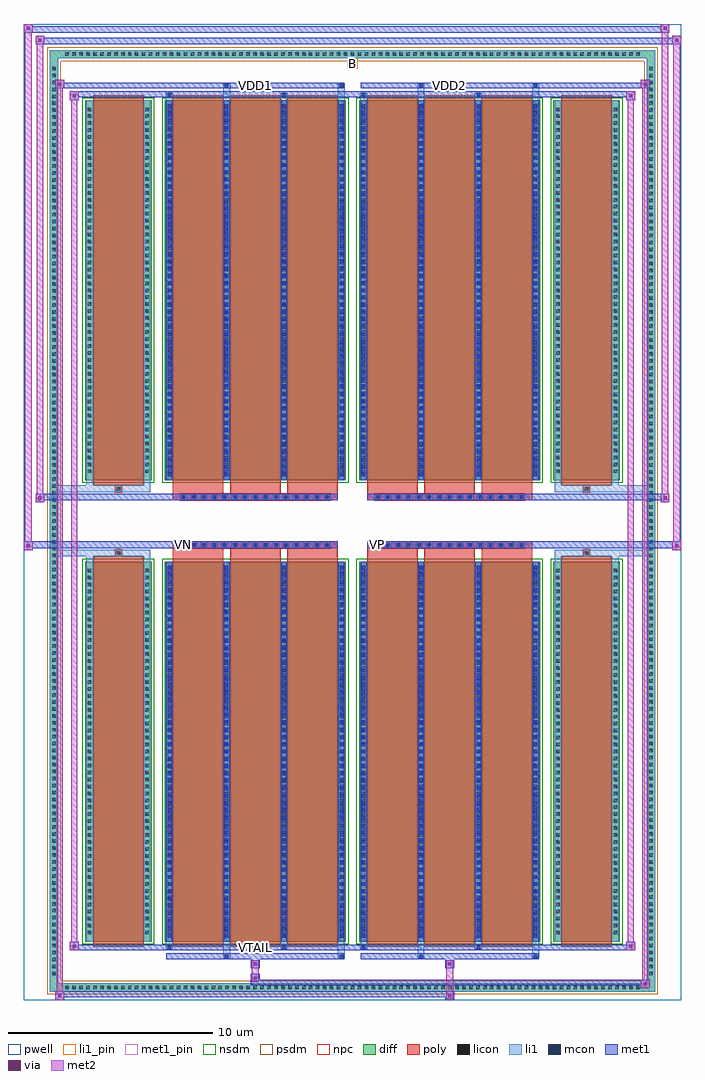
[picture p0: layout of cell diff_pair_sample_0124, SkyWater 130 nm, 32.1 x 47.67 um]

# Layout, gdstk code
import gdstk
lib = gdstk.Library(unit=1e-6, precision=5e-09)
def R(c, l, rs):  # rectangles x0, y0, x1, y1
    for r in rs: c.add(gdstk.rectangle(r[:2], r[2:], *l))
def A(c, l, x, y, w, h, nx, ny, dx, dy):  # array of equal rectangles
    R(c, l, [(x+i*dx, y+j*dy, x+i*dx+w, y+j*dy+h) for i in range(nx) for j in range(ny)])
def P(c, l, *ps):  # polygons
    for p in ps: c.add(gdstk.Polygon(p, *l))
pwell = (64, 44)
diff = (65, 20)
poly = (66, 20)
licon = (66, 44)
li1_pin = (67, 16)
li1 = (67, 20)
mcon = (67, 44)
met1_pin = (68, 16)
met1 = (68, 20)
via = (68, 44)
met2 = (69, 20)
nsdm = (93, 44)
psdm = (94, 20)
npc = (95, 20)

diff_pair_sample_0124 = lib.new_cell('diff_pair_sample_0124')
R(diff_pair_sample_0124, pwell, [(-16.05,-23.4,16.05,24.27), (-13.37,-21.59,-0.01,-0.805), (0.01,-21.59,13.37,-0.805), (-13.37,0.805,-0.01,21.59), (0.01,0.805,13.37,21.59)])
A(diff_pair_sample_0124, diff, -14.145, -23, 0.41, 0.41, 83, 2, 0.34, 45.59)
A(diff_pair_sample_0124, diff, -14.78, -22.305, 0.41, 0.41, 1, 131, 0, 0.34)
A(diff_pair_sample_0124, diff, 14.37, -22.305, 0.41, 0.41, 1, 131, 0, 0.34)
R(diff_pair_sample_0124, diff, [(-14.145,-23,14.145,-22.59), (-14.78,-22.305,-14.37,22.305), (14.37,-22.305,14.78,22.305), (-13.06,-20.545,-9.81,-1.985), (-9.17,-20.545,-0.32,-1.985), (0.32,-20.545,9.17,-1.985), (9.81,-20.545,13.06,-1.985), (-13.06,1.985,-9.81,20.545), (-9.17,1.985,-0.32,20.545), (0.32,1.985,9.17,20.545), (9.81,1.985,13.06,20.545), (-14.145,22.59,14.145,23)])
P(diff_pair_sample_0124, diff, [(14.78,23),(-14.78,23),(-14.78,-22.59),(-14.37,-22.59),(-14.37,22.59),(14.37,22.59),(14.37,-22.59),(-14.37,-22.59),(-14.78,-22.59),(-14.78,-23),(14.78,-23)])
A(diff_pair_sample_0124, poly, -8.78, -20.795, 2.47, 19.06, 3, 2, 2.8, 22.53)
A(diff_pair_sample_0124, poly, 0.71, -20.795, 2.47, 19.06, 3, 2, 2.8, 22.53)
A(diff_pair_sample_0124, poly, -8.78, -1.735, 2.47, 0.4, 3, 2, 2.8, 3.07)
A(diff_pair_sample_0124, poly, 0.71, -1.735, 2.47, 0.4, 3, 2, 2.8, 3.07)
A(diff_pair_sample_0124, poly, -8.41, -1.335, 0.33, 0.33, 15, 2, 0.5, 2.34)
A(diff_pair_sample_0124, poly, 1.08, -1.335, 0.33, 0.33, 15, 2, 0.5, 2.34)
R(diff_pair_sample_0124, poly, [(-12.67,-20.795,-10.2,-1.735), (10.2,-20.795,12.67,-1.735), (-11.6,-1.735,-11.27,-1.405), (-11.6,-1.735,-11.27,-1.405), (11.27,-1.735,11.6,-1.405), (11.27,-1.735,11.6,-1.405), (-8.78,-1.335,-0.71,-1.005), (0.71,-1.335,8.78,-1.005), (-8.78,1.005,-0.71,1.335), (0.71,1.005,8.78,1.335), (-11.6,1.405,-11.27,1.735), (-11.6,1.405,-11.27,1.735), (11.27,1.405,11.6,1.735), (11.27,1.405,11.6,1.735), (-12.67,1.735,-10.2,20.795), (10.2,1.735,12.67,20.795)])
A(diff_pair_sample_0124, licon, -14.025, -22.88, 0.17, 0.17, 83, 2, 0.34, 45.59)
A(diff_pair_sample_0124, licon, -14.66, -22.185, 0.17, 0.17, 1, 131, 0, 0.34)
A(diff_pair_sample_0124, licon, 14.49, -22.185, 0.17, 0.17, 1, 131, 0, 0.34)
A(diff_pair_sample_0124, licon, -12.92, -20.19, 0.17, 0.17, 1, 53, 0, 0.34)
A(diff_pair_sample_0124, licon, -10.12, -20.19, 0.17, 0.17, 1, 53, 0, 0.34)
A(diff_pair_sample_0124, licon, -9.03, -20.19, 0.17, 0.17, 4, 53, 2.8, 0.34)
A(diff_pair_sample_0124, licon, 0.46, -20.19, 0.17, 0.17, 4, 53, 2.8, 0.34)
A(diff_pair_sample_0124, licon, 9.95, -20.19, 0.17, 0.17, 1, 53, 0, 0.34)
A(diff_pair_sample_0124, licon, 12.75, -20.19, 0.17, 0.17, 1, 53, 0, 0.34)
A(diff_pair_sample_0124, licon, -8.33, -1.255, 0.17, 0.17, 15, 2, 0.5, 2.34)
A(diff_pair_sample_0124, licon, 1.16, -1.255, 0.17, 0.17, 15, 2, 0.5, 2.34)
A(diff_pair_sample_0124, licon, -12.92, 2.34, 0.17, 0.17, 1, 53, 0, 0.34)
A(diff_pair_sample_0124, licon, -10.12, 2.34, 0.17, 0.17, 1, 53, 0, 0.34)
A(diff_pair_sample_0124, licon, -9.03, 2.34, 0.17, 0.17, 4, 53, 2.8, 0.34)
A(diff_pair_sample_0124, licon, 0.46, 2.34, 0.17, 0.17, 4, 53, 2.8, 0.34)
A(diff_pair_sample_0124, licon, 9.95, 2.34, 0.17, 0.17, 1, 53, 0, 0.34)
A(diff_pair_sample_0124, licon, 12.75, 2.34, 0.17, 0.17, 1, 53, 0, 0.34)
R(diff_pair_sample_0124, licon, [(-11.52,-1.655,-11.35,-1.485), (11.35,-1.655,11.52,-1.485), (-11.52,1.485,-11.35,1.655), (11.35,1.485,11.52,1.655)])
R(diff_pair_sample_0124, li1_pin, [(-0.25,22.09,0.25,22.59)])
A(diff_pair_sample_0124, li1, -14.105, -22.96, 0.33, 0.33, 83, 2, 0.34, 45.59)
A(diff_pair_sample_0124, li1, -14.74, -22.265, 0.33, 0.33, 1, 131, 0, 0.34)
A(diff_pair_sample_0124, li1, 14.41, -22.265, 0.33, 0.33, 1, 131, 0, 0.34)
A(diff_pair_sample_0124, li1, -9.11, -20.545, 0.33, 18.56, 4, 2, 2.8, 22.53)
A(diff_pair_sample_0124, li1, 0.38, -20.545, 0.33, 18.56, 4, 2, 2.8, 22.53)
A(diff_pair_sample_0124, li1, -9.03, -20.35, 0.17, 0.17, 4, 51, 2.8, 0.36)
A(diff_pair_sample_0124, li1, -9.03, -20.35, 0.17, 18.17, 4, 2, 2.8, 22.53)
A(diff_pair_sample_0124, li1, 0.46, -20.35, 0.17, 0.17, 4, 51, 2.8, 0.36)
A(diff_pair_sample_0124, li1, 0.46, -20.35, 0.17, 18.17, 4, 2, 2.8, 22.53)
A(diff_pair_sample_0124, li1, -13, -20.27, 0.33, 0.33, 1, 53, 0, 0.34)
A(diff_pair_sample_0124, li1, -10.2, -20.27, 0.33, 0.33, 1, 53, 0, 0.34)
A(diff_pair_sample_0124, li1, -9.11, -20.27, 0.33, 0.33, 4, 53, 2.8, 0.34)
A(diff_pair_sample_0124, li1, 0.38, -20.27, 0.33, 0.33, 4, 53, 2.8, 0.34)
A(diff_pair_sample_0124, li1, 9.87, -20.27, 0.33, 0.33, 1, 53, 0, 0.34)
A(diff_pair_sample_0124, li1, 12.67, -20.27, 0.33, 0.33, 1, 53, 0, 0.34)
A(diff_pair_sample_0124, li1, -8.41, -1.335, 0.33, 0.33, 15, 2, 0.5, 2.34)
A(diff_pair_sample_0124, li1, 1.08, -1.335, 0.33, 0.33, 15, 2, 0.5, 2.34)
A(diff_pair_sample_0124, li1, -9.03, 2.18, 0.17, 0.17, 4, 51, 2.8, 0.36)
A(diff_pair_sample_0124, li1, 0.46, 2.18, 0.17, 0.17, 4, 51, 2.8, 0.36)
A(diff_pair_sample_0124, li1, -13, 2.26, 0.33, 0.33, 1, 53, 0, 0.34)
A(diff_pair_sample_0124, li1, -10.2, 2.26, 0.33, 0.33, 1, 53, 0, 0.34)
A(diff_pair_sample_0124, li1, -9.11, 2.26, 0.33, 0.33, 4, 53, 2.8, 0.34)
A(diff_pair_sample_0124, li1, 0.38, 2.26, 0.33, 0.33, 4, 53, 2.8, 0.34)
A(diff_pair_sample_0124, li1, 9.87, 2.26, 0.33, 0.33, 1, 53, 0, 0.34)
A(diff_pair_sample_0124, li1, 12.67, 2.26, 0.33, 0.33, 1, 53, 0, 0.34)
R(diff_pair_sample_0124, li1, [(-14.78,-23,-14.37,-22.59), (-14.78,-23,-14.37,-22.59), (-14.37,-23,14.37,-22.59), (14.37,-23,14.78,-22.59), (14.37,-23,14.78,-22.59), (-14.78,-22.59,-14.37,22.59), (14.37,-22.59,14.78,22.59), (-6.31,-21.35,-5.98,-20.545), (-6.23,-21.35,-6.06,-21.18), (-0.71,-21.35,-0.38,-20.545), (-0.63,-21.35,-0.46,-21.18), (3.18,-21.35,3.51,-20.545), (3.26,-21.35,3.43,-21.18), (8.78,-21.35,9.11,-20.545), (8.86,-21.35,9.03,-21.18), (-9.11,-20.92,-8.78,-20.545), (-9.03,-20.92,-8.86,-20.75), (-3.51,-20.92,-3.18,-20.545), (-3.43,-20.92,-3.26,-20.75), (0.38,-20.92,0.71,-20.545), (0.46,-20.92,0.63,-20.75), (5.98,-20.92,6.31,-20.545), (6.06,-20.92,6.23,-20.75), (-13,-20.545,-12.67,-1.985), (-10.2,-20.545,-9.87,-1.985), (9.87,-20.545,10.2,-1.985), (12.67,-20.545,13,-1.985), (-13,-1.985,-12.67,-1.405), (-10.2,-1.985,-9.87,-1.405), (9.87,-1.985,10.2,-1.405), (12.67,-1.985,13,-1.405), (-14.78,-1.735,-11.6,-1.405), (-13,-1.735,-11.6,-1.405), (-11.6,-1.735,-11.27,-1.405), (-11.27,-1.735,-9.87,-1.405), (9.87,-1.735,11.27,-1.405), (11.27,-1.735,11.6,-1.405), (11.27,-1.735,14.78,-1.405), (11.6,-1.735,13,-1.405), (-14.78,1.405,-11.6,1.735), (-13,1.405,-11.6,1.735), (-13,1.405,-12.67,1.985), (-11.6,1.405,-11.27,1.735), (-11.27,1.405,-9.87,1.735), (-10.2,1.405,-9.87,1.985), (9.87,1.405,11.27,1.735), (9.87,1.405,10.2,1.985), (11.27,1.405,11.6,1.735), (11.27,1.405,14.78,1.735), (11.6,1.405,13,1.735), (12.67,1.405,13,1.985), (-13,1.985,-12.67,20.545), (-10.2,1.985,-9.87,20.545), (9.87,1.985,10.2,20.545), (12.67,1.985,13,20.545), (-9.11,20.545,-8.78,20.92), (-6.31,20.545,-5.98,21.35), (-3.51,20.545,-3.18,20.92), (-0.71,20.545,-0.38,21.35), (0.38,20.545,0.71,20.92), (3.18,20.545,3.51,21.35), (5.98,20.545,6.31,20.92), (8.78,20.545,9.11,21.35), (-9.03,20.75,-8.86,20.92), (-3.43,20.75,-3.26,20.92), (0.46,20.75,0.63,20.92), (6.06,20.75,6.23,20.92), (-6.23,21.18,-6.06,21.35), (-0.63,21.18,-0.46,21.35), (3.26,21.18,3.43,21.35), (8.86,21.18,9.03,21.35), (-14.78,22.59,-14.37,23), (-14.78,22.59,-14.37,23), (-14.37,22.59,14.37,23), (14.37,22.59,14.78,23), (14.37,22.59,14.78,23)])
A(diff_pair_sample_0124, mcon, -9.03, -20.35, 0.17, 0.17, 4, 51, 2.8, 0.36)
A(diff_pair_sample_0124, mcon, 0.46, -20.35, 0.17, 0.17, 4, 51, 2.8, 0.36)
A(diff_pair_sample_0124, mcon, -8.33, -1.255, 0.17, 0.17, 15, 2, 0.5, 2.34)
A(diff_pair_sample_0124, mcon, 1.16, -1.255, 0.17, 0.17, 15, 2, 0.5, 2.34)
A(diff_pair_sample_0124, mcon, -9.03, 2.18, 0.17, 0.17, 4, 51, 2.8, 0.36)
A(diff_pair_sample_0124, mcon, 0.46, 2.18, 0.17, 0.17, 4, 51, 2.8, 0.36)
R(diff_pair_sample_0124, mcon, [(-6.23,-21.35,-6.06,-21.18), (-0.63,-21.35,-0.46,-21.18), (3.26,-21.35,3.43,-21.18), (8.86,-21.35,9.03,-21.18), (-9.03,-20.92,-8.86,-20.75), (-3.43,-20.92,-3.26,-20.75), (0.46,-20.92,0.63,-20.75), (6.06,-20.92,6.23,-20.75), (-9.03,20.75,-8.86,20.92), (-3.43,20.75,-3.26,20.92), (0.46,20.75,0.63,20.92), (6.06,20.75,6.23,20.92), (-6.23,21.18,-6.06,21.35), (-0.63,21.18,-0.46,21.35), (3.26,21.18,3.43,21.35), (8.86,21.18,9.03,21.35)])
R(diff_pair_sample_0124, met1_pin, [(-4.88,-20.96,-4.61,-20.69), (-8.38,-1.295,-8.11,-1.025), (1.11,-1.295,1.38,-1.025), (-4.88,21.14,-4.61,21.41), (4.61,21.14,4.88,21.41)])
A(diff_pair_sample_0124, met1, -9.09, -20.545, 0.29, 18.56, 4, 2, 2.8, 22.53)
A(diff_pair_sample_0124, met1, 0.4, -20.545, 0.29, 18.56, 4, 2, 2.8, 22.53)
A(diff_pair_sample_0124, met1, -9.09, -20.41, 0.29, 0.29, 4, 51, 2.8, 0.36)
A(diff_pair_sample_0124, met1, 0.4, -20.41, 0.29, 0.29, 4, 51, 2.8, 0.36)
A(diff_pair_sample_0124, met1, -8.39, -1.315, 0.29, 0.29, 15, 2, 0.5, 2.34)
A(diff_pair_sample_0124, met1, 1.1, -1.315, 0.29, 0.29, 15, 2, 0.5, 2.34)
A(diff_pair_sample_0124, met1, -9.09, 2.12, 0.29, 0.29, 4, 51, 2.8, 0.36)
A(diff_pair_sample_0124, met1, 0.4, 2.12, 0.29, 0.29, 4, 51, 2.8, 0.36)
R(diff_pair_sample_0124, met1, [(-14.51,-23.4,-14.08,-22.97), (4.53,-23.4,4.96,-22.97), (-14.51,-23.26,4.96,-22.97), (14.08,-22.83,14.51,-22.4), (-4.96,-22.69,14.51,-22.4), (-4.96,-22.55,-4.53,-22.12), (-4.96,-21.84,-4.53,-21.41), (4.53,-21.84,4.96,-21.41), (-9.09,-21.41,-0.4,-21.12), (-6.29,-21.41,-6,-21.12), (-0.69,-21.41,-0.4,-21.12), (0.4,-21.41,9.09,-21.12), (3.2,-21.41,3.49,-21.12), (8.8,-21.41,9.09,-21.12), (-13.8,-20.98,-13.37,-20.55), (-13.8,-20.98,-9.09,-20.69), (-9.09,-20.98,-8.8,-20.69), (-9.09,-20.98,-0.4,-20.69), (-3.49,-20.98,-3.2,-20.69), (-0.4,-20.98,0.4,-20.69), (0.4,-20.98,0.69,-20.69), (0.4,-20.98,9.09,-20.69), (6,-20.98,6.29,-20.69), (9.09,-20.98,13.8,-20.69), (13.37,-20.98,13.8,-20.55), (-16.05,-1.435,-15.62,-1.005), (15.62,-1.435,16.05,-1.005), (-16.05,-1.335,-0.71,-1.005), (-8.78,-1.335,-0.71,-1.005), (0.71,-1.335,8.78,-1.005), (0.71,-1.335,16.05,-1.005), (-15.48,0.905,-15.05,1.335), (15.05,0.905,15.48,1.335), (-15.48,1.005,-8.78,1.335), (-8.78,1.005,-0.71,1.335), (0.71,1.005,8.78,1.335), (8.78,1.005,15.48,1.335), (-13.8,20.55,-13.37,20.98), (13.37,20.55,13.8,20.98), (-13.8,20.69,-9.09,20.98), (-9.09,20.69,-8.8,20.98), (-9.09,20.69,-0.4,20.98), (-3.49,20.69,-3.2,20.98), (-0.4,20.69,0.4,20.98), (0.4,20.69,0.69,20.98), (0.4,20.69,9.09,20.98), (6,20.69,6.29,20.98), (9.09,20.69,13.8,20.98), (-14.51,21.12,-14.08,21.55), (-14.51,21.12,-9.09,21.41), (-9.09,21.12,-0.4,21.41), (-6.29,21.12,-6,21.41), (-0.69,21.12,-0.4,21.41), (0.4,21.12,9.09,21.41), (3.2,21.12,3.49,21.41), (8.8,21.12,9.09,21.41), (9.09,21.12,14.51,21.41), (14.08,21.12,14.51,21.55), (-15.48,23.27,-15.05,23.7), (-15.48,23.27,-13.37,23.6), (-13.37,23.27,13.37,23.6), (13.37,23.27,16.05,23.6), (15.62,23.27,16.05,23.7), (-16.05,23.84,-15.62,24.27), (-16.05,23.84,-13.37,24.17), (-13.37,23.84,13.37,24.17), (13.37,23.84,15.48,24.17), (15.05,23.84,15.48,24.27)])
R(diff_pair_sample_0124, via, [(-14.37,-23.26,-14.22,-23.11), (4.67,-23.26,4.82,-23.11), (14.22,-22.69,14.37,-22.54), (-4.82,-22.41,-4.67,-22.26), (-4.82,-21.7,-4.67,-21.55), (4.67,-21.7,4.82,-21.55), (-13.66,-20.84,-13.51,-20.69), (13.51,-20.84,13.66,-20.69), (-15.91,-1.295,-15.76,-1.145), (15.76,-1.295,15.91,-1.145), (-15.34,1.045,-15.19,1.195), (15.19,1.045,15.34,1.195), (-13.66,20.69,-13.51,20.84), (13.51,20.69,13.66,20.84), (-14.37,21.26,-14.22,21.41), (14.22,21.26,14.37,21.41), (-15.34,23.41,-15.19,23.56), (15.76,23.41,15.91,23.56), (-15.91,23.98,-15.76,24.13), (15.19,23.98,15.34,24.13)])
R(diff_pair_sample_0124, met2, [(-14.51,-23.4,-14.08,-22.97), (-14.44,-23.4,-14.15,21.55), (-14.15,-23.4,-14.08,-22.97), (-14.46,-23.35,-14.13,-23.02), (4.58,-23.35,4.91,-23.02), (4.58,-23.02,4.91,-21.79), (14.08,-22.83,14.51,-22.4), (14.15,-22.83,14.44,21.55), (14.44,-22.83,14.51,-22.4), (14.13,-22.78,14.46,-22.45), (-4.91,-22.5,-4.58,-22.17), (-4.91,-22.17,-4.58,-21.79), (-4.91,-21.79,-4.58,-21.46), (4.58,-21.79,4.91,-21.46), (-13.8,-20.98,-13.37,-20.55), (-13.73,-20.98,-13.44,20.98), (-13.44,-20.98,-13.37,-20.55), (13.37,-20.98,13.8,-20.55), (13.44,-20.98,13.73,20.98), (13.73,-20.98,13.8,-20.55), (-13.75,-20.93,-13.42,-20.6), (13.42,-20.93,13.75,-20.6), (-16.05,-1.435,-15.62,-1.005), (-16,-1.435,-15.67,24.27), (-15.67,-1.435,-15.62,-1.005), (15.62,-1.435,16.05,-1.005), (15.67,-1.435,16,23.7), (16,-1.435,16.05,-1.005), (-16,-1.385,-15.67,-1.055), (15.67,-1.385,16,-1.055), (-15.48,0.905,-15.05,1.335), (-15.43,0.905,-15.1,23.7), (-15.1,0.905,-15.05,1.335), (15.05,0.905,15.48,1.335), (15.1,0.905,15.43,24.27), (15.43,0.905,15.48,1.335), (-15.43,0.955,-15.1,1.285), (15.1,0.955,15.43,1.285), (-13.8,20.55,-13.37,20.98), (-13.44,20.55,-13.37,20.98), (13.37,20.55,13.8,20.98), (13.73,20.55,13.8,20.98), (-13.75,20.6,-13.42,20.93), (13.42,20.6,13.75,20.93), (-14.51,21.12,-14.08,21.55), (-14.15,21.12,-14.08,21.55), (14.08,21.12,14.51,21.55), (14.44,21.12,14.51,21.55), (-14.46,21.17,-14.13,21.5), (14.13,21.17,14.46,21.5), (-15.48,23.27,-15.05,23.7), (-15.1,23.27,-15.05,23.7), (15.62,23.27,16.05,23.7), (16,23.27,16.05,23.7), (-15.43,23.32,-15.1,23.65), (15.67,23.32,16,23.65), (-16.05,23.84,-15.62,24.27), (-15.67,23.84,-15.62,24.27), (15.05,23.84,15.48,24.27), (15.43,23.84,15.48,24.27), (-16,23.89,-15.67,24.22), (15.1,23.89,15.43,24.22)])
R(diff_pair_sample_0124, nsdm, [(-13.19,-20.675,-9.68,-1.855), (-9.3,-20.675,-0.19,-1.855), (0.19,-20.675,9.3,-1.855), (9.68,-20.675,13.19,-1.855), (-13.19,1.855,-9.68,20.675), (-9.3,1.855,-0.19,20.675), (0.19,1.855,9.3,20.675), (9.68,1.855,13.19,20.675)])
P(diff_pair_sample_0124, psdm, [(14.91,23.13),(-14.91,23.13),(-14.91,-22.46),(-14.24,-22.46),(-14.24,22.46),(14.24,22.46),(14.24,-22.46),(-14.24,-22.46),(-14.91,-22.46),(-14.91,-23.13),(14.91,-23.13)])
A(diff_pair_sample_0124, npc, -8.43, -1.355, 0.37, 0.37, 15, 2, 0.5, 2.34)
A(diff_pair_sample_0124, npc, 1.06, -1.355, 0.37, 0.37, 15, 2, 0.5, 2.34)
R(diff_pair_sample_0124, npc, [(-11.62,-1.755,-11.25,-1.385), (11.25,-1.755,11.62,-1.385), (-8.43,-1.355,-7.56,-0.985), (-8.43,-1.355,-7.56,-0.985), (-7.93,-1.355,-7.06,-0.985), (-7.93,-1.355,-7.06,-0.985), (-7.43,-1.355,-6.56,-0.985), (-7.43,-1.355,-6.56,-0.985), (-6.93,-1.355,-6.06,-0.985), (-6.93,-1.355,-6.06,-0.985), (-6.43,-1.355,-5.56,-0.985), (-6.43,-1.355,-5.56,-0.985), (-5.93,-1.355,-5.06,-0.985), (-5.93,-1.355,-5.06,-0.985), (-5.43,-1.355,-4.56,-0.985), (-5.43,-1.355,-4.56,-0.985), (-4.93,-1.355,-4.06,-0.985), (-4.93,-1.355,-4.06,-0.985), (-4.43,-1.355,-3.56,-0.985), (-4.43,-1.355,-3.56,-0.985), (-3.93,-1.355,-3.06,-0.985), (-3.93,-1.355,-3.06,-0.985), (-3.43,-1.355,-2.56,-0.985), (-3.43,-1.355,-2.56,-0.985), (-2.93,-1.355,-2.06,-0.985), (-2.93,-1.355,-2.06,-0.985), (-2.43,-1.355,-1.56,-0.985), (-2.43,-1.355,-1.56,-0.985), (-1.93,-1.355,-1.06,-0.985), (-1.93,-1.355,-1.06,-0.985), (1.06,-1.355,1.93,-0.985), (1.06,-1.355,1.93,-0.985), (1.56,-1.355,2.43,-0.985), (1.56,-1.355,2.43,-0.985), (2.06,-1.355,2.93,-0.985), (2.06,-1.355,2.93,-0.985), (2.56,-1.355,3.43,-0.985), (2.56,-1.355,3.43,-0.985), (3.06,-1.355,3.93,-0.985), (3.06,-1.355,3.93,-0.985), (3.56,-1.355,4.43,-0.985), (3.56,-1.355,4.43,-0.985), (4.06,-1.355,4.93,-0.985), (4.06,-1.355,4.93,-0.985), (4.56,-1.355,5.43,-0.985), (4.56,-1.355,5.43,-0.985), (5.06,-1.355,5.93,-0.985), (5.06,-1.355,5.93,-0.985), (5.56,-1.355,6.43,-0.985), (5.56,-1.355,6.43,-0.985), (6.06,-1.355,6.93,-0.985), (6.06,-1.355,6.93,-0.985), (6.56,-1.355,7.43,-0.985), (6.56,-1.355,7.43,-0.985), (7.06,-1.355,7.93,-0.985), (7.06,-1.355,7.93,-0.985), (7.56,-1.355,8.43,-0.985), (7.56,-1.355,8.43,-0.985), (-8.43,0.985,-7.56,1.355), (-8.43,0.985,-7.56,1.355), (-7.93,0.985,-7.06,1.355), (-7.93,0.985,-7.06,1.355), (-7.43,0.985,-6.56,1.355), (-7.43,0.985,-6.56,1.355), (-6.93,0.985,-6.06,1.355), (-6.93,0.985,-6.06,1.355), (-6.43,0.985,-5.56,1.355), (-6.43,0.985,-5.56,1.355), (-5.93,0.985,-5.06,1.355), (-5.93,0.985,-5.06,1.355), (-5.43,0.985,-4.56,1.355), (-5.43,0.985,-4.56,1.355), (-4.93,0.985,-4.06,1.355), (-4.93,0.985,-4.06,1.355), (-4.43,0.985,-3.56,1.355), (-4.43,0.985,-3.56,1.355), (-3.93,0.985,-3.06,1.355), (-3.93,0.985,-3.06,1.355), (-3.43,0.985,-2.56,1.355), (-3.43,0.985,-2.56,1.355), (-2.93,0.985,-2.06,1.355), (-2.93,0.985,-2.06,1.355), (-2.43,0.985,-1.56,1.355), (-2.43,0.985,-1.56,1.355), (-1.93,0.985,-1.06,1.355), (-1.93,0.985,-1.06,1.355), (1.06,0.985,1.93,1.355), (1.06,0.985,1.93,1.355), (1.56,0.985,2.43,1.355), (1.56,0.985,2.43,1.355), (2.06,0.985,2.93,1.355), (2.06,0.985,2.93,1.355), (2.56,0.985,3.43,1.355), (2.56,0.985,3.43,1.355), (3.06,0.985,3.93,1.355), (3.06,0.985,3.93,1.355), (3.56,0.985,4.43,1.355), (3.56,0.985,4.43,1.355), (4.06,0.985,4.93,1.355), (4.06,0.985,4.93,1.355), (4.56,0.985,5.43,1.355), (4.56,0.985,5.43,1.355), (5.06,0.985,5.93,1.355), (5.06,0.985,5.93,1.355), (5.56,0.985,6.43,1.355), (5.56,0.985,6.43,1.355), (6.06,0.985,6.93,1.355), (6.06,0.985,6.93,1.355), (6.56,0.985,7.43,1.355), (6.56,0.985,7.43,1.355), (7.06,0.985,7.93,1.355), (7.06,0.985,7.93,1.355), (7.56,0.985,8.43,1.355), (7.56,0.985,8.43,1.355), (-11.62,1.385,-11.25,1.755), (11.25,1.385,11.62,1.755)])
diff_pair_sample_0124.add(gdstk.Label('VTAIL', (-4.745,-20.825), layer=68, texttype=5))
diff_pair_sample_0124.add(gdstk.Label('VN', (-8.245,-1.16), layer=68, texttype=5))
diff_pair_sample_0124.add(gdstk.Label('VP', (1.245,-1.16), layer=68, texttype=5))
diff_pair_sample_0124.add(gdstk.Label('B', (0,22.34), layer=67, texttype=5))
diff_pair_sample_0124.add(gdstk.Label('VDD2', (4.745,21.275), layer=68, texttype=5))
diff_pair_sample_0124.add(gdstk.Label('VDD1', (-4.745,21.275), layer=68, texttype=5))

lib.write_gds('diff_pair_sample_0124.gds')
